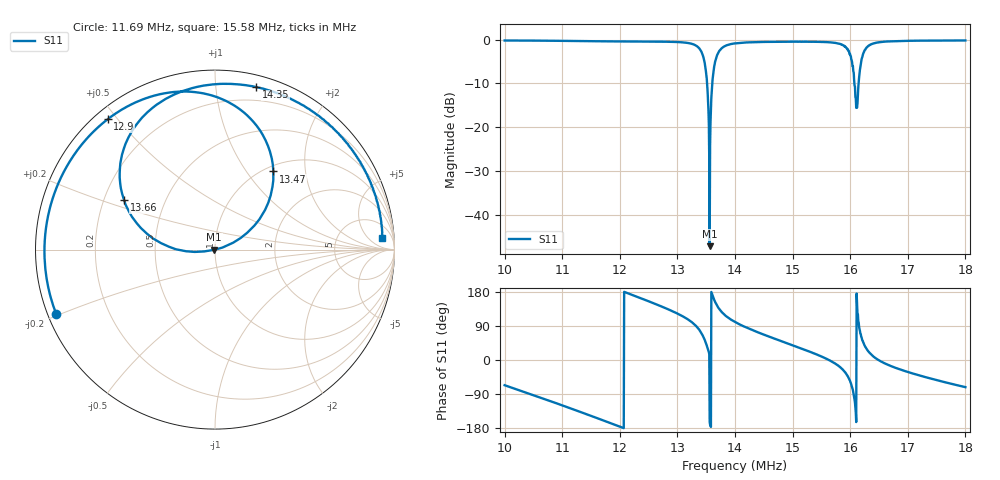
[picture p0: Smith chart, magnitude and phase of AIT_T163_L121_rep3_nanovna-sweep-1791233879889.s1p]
! NanoVNA Web complex sweep
! Processing: unaveraged complex samples; linear segment spacing; no smoothing
# Hz S RI R 50
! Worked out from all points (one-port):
!   1111 points, 10 MHz to 18 MHz, reference 50 ohm
!   lowest |S11| = -47.1 dB at 13.56 MHz (marker M1), VSWR 1.01, Z = 49.6 - j0.121 ohm
!   |S11| at or under -10 dB: 13.51 MHz to 13.61 MHz (90.66 kHz wide, 0.669 % of centre); 16.07251 MHz to 16.14558 MHz (73.08 kHz wide, 0.454 % of centre)
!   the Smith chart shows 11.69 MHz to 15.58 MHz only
!   S11 on the Smith chart (normalised r, x): 11.69 MHz: 0.02, -0.19; 12.9 MHz: 0.04, +0.47; 13.47 MHz: 1.09, +1.35; 13.66 MHz: 0.28, +0.24; 14.35 MHz: 0.09, +1.28; 15.58 MHz: 15, +15
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1e7  0.388 -0.8941
1.100177e7  -0.4795 -0.8382
1.168644e7  -0.8848 -0.3586
1.200355e7  -0.9486 -0.066
1.290442e7  -0.5971 0.7271
1.300532e7  -0.4981 0.7922
1.332243e7  -0.000584 0.8533
1.347377e7  0.3252 0.4353
1.350981e7  0.2792 0.2215
1.353143e7  0.1796 0.0939
1.356026e7  -0.00427 -0.00122
1.361791e7  -0.3782 0.0879
1.366116e7  -0.5069 0.2764
1.379809e7  -0.436 0.6988
1.399988e7  -0.1622 0.8892
1.435303e7  0.2304 0.9052
1.500166e7  0.7363 0.5915
1.557822e7  0.9331 0.0622
1.585208e7  0.8032 -0.3388
1.600343e7  0.3446 -0.5602
1.606109e7  -0.00605 -0.4195
1.611154e7  -0.1761 0.0144
1.616198e7  0.0659 0.4113
1.621243e7  0.4014 0.4973
1.630612e7  0.761 0.3499
1.642864e7  0.9049 0.0982
1.70052e7  0.8213 -0.5102
1.799977e7  0.3071 -0.9262
